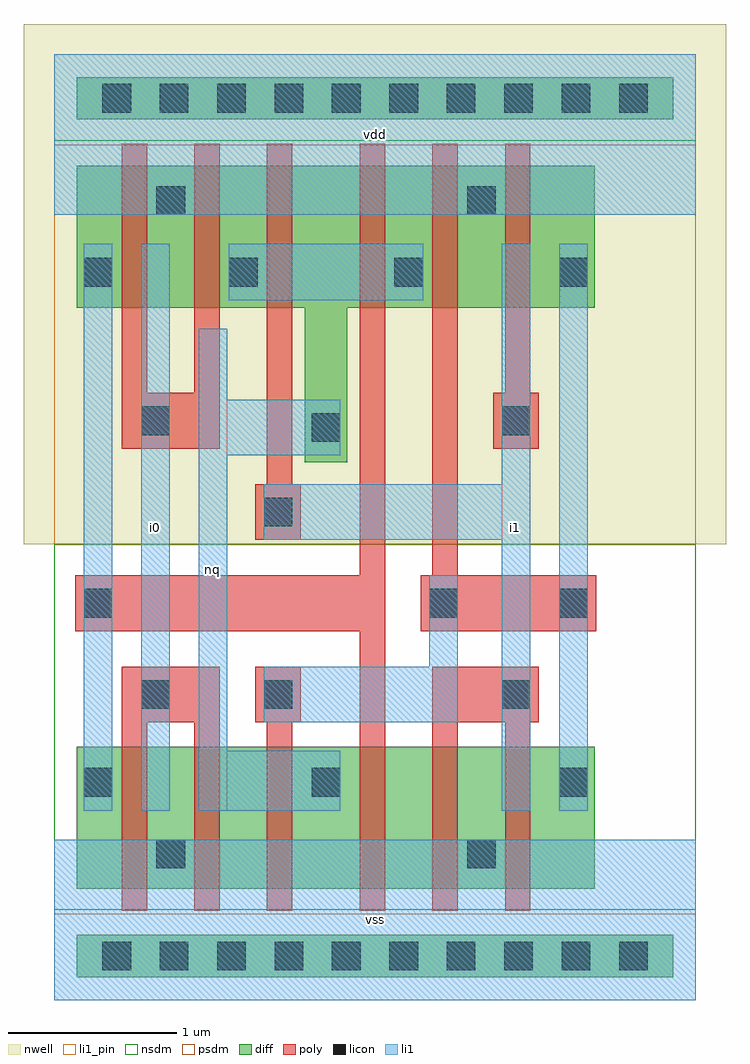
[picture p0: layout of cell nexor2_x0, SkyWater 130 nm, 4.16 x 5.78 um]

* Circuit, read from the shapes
.subckt nexor2_x0 i0 i1 nq vdd vss
XM1 vss i0 n1 VSUBS sky130_fd_pr__nfet_01v8 w=0.84 l=0.15
XM2 n2 i0 vss VSUBS sky130_fd_pr__nfet_01v8 w=0.84 l=0.15
XM3 nq n3 n2 VSUBS sky130_fd_pr__nfet_01v8 w=0.84 l=0.15
XM4 n4 n1 nq VSUBS sky130_fd_pr__nfet_01v8 w=0.84 l=0.15
XM5 vss i1 n4 VSUBS sky130_fd_pr__nfet_01v8 w=0.84 l=0.15
XM6 n3 i1 vss VSUBS sky130_fd_pr__nfet_01v8 w=0.84 l=0.15
XM7 vdd i0 n1 n5 sky130_fd_pr__pfet_01v8 w=0.84 l=0.15
XM8 n6 i0 vdd n5 sky130_fd_pr__pfet_01v8 w=0.84 l=0.15
XM9 nq i1 n6 n5 sky130_fd_pr__pfet_01v8 w=0.84 l=0.15
XM10 n6 n1 nq n5 sky130_fd_pr__pfet_01v8 w=0.84 l=0.15
XM11 vdd n3 n6 n5 sky130_fd_pr__pfet_01v8 w=0.84 l=0.15
XM12 n3 i1 vdd n5 sky130_fd_pr__pfet_01v8 w=0.84 l=0.15
.ends

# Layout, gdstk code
import gdstk
lib = gdstk.Library(unit=1e-6, precision=1e-09)
def R(c, l, rs):  # rectangles x0, y0, x1, y1
    for r in rs: c.add(gdstk.rectangle(r[:2], r[2:], *l))
def A(c, l, x, y, w, h, nx, ny, dx, dy):  # array of equal rectangles
    R(c, l, [(x+i*dx, y+j*dy, x+i*dx+w, y+j*dy+h) for i in range(nx) for j in range(ny)])
def P(c, l, *ps):  # polygons
    for p in ps: c.add(gdstk.Polygon(p, *l))
nwell = (64, 20)
diff = (65, 20)
poly = (66, 20)
licon = (66, 44)
li1_pin = (67, 16)
li1 = (67, 20)
nsdm = (93, 44)
psdm = (94, 20)

nexor2_x0 = lib.new_cell('nexor2_x0')
R(nexor2_x0, nwell, [(-0.18,2.7,3.98,5.78)])
R(nexor2_x0, diff, [(0.135,0.135,3.665,0.385), (0.135,0.66,3.2,1.5), (0.135,5.215,3.665,5.465)])
P(nexor2_x0, diff, [(1.485,3.185),(1.485,4.1),(0.135,4.1),(0.135,4.94),(3.2,4.94),(3.2,4.1),(1.735,4.1),(1.735,3.185)])
P(nexor2_x0, poly, [(1.81,0.53),(1.81,2.185),(0.125,2.185),(0.125,2.515),(1.81,2.515),(1.81,5.07),(1.96,5.07),(1.96,0.53)],
  [(0.4,3.265),(0.4,5.07),(0.55,5.07),(0.55,3.595),(0.83,3.595),(0.83,5.07),(0.98,5.07),(0.98,3.265)],
  [(0.4,0.53),(0.4,1.975),(0.98,1.975),(0.98,0.53),(0.83,0.53),(0.83,1.645),(0.55,1.645),(0.55,0.53)],
  [(1.26,0.53),(1.26,1.645),(1.19,1.645),(1.19,1.975),(1.46,1.975),(1.46,1.645),(1.41,1.645),(1.41,0.53)],
  [(2.17,2.185),(2.17,2.515),(2.24,2.515),(2.24,5.07),(2.39,5.07),(2.39,2.515),(3.21,2.515),(3.21,2.185)],
  [(1.19,2.725),(1.19,3.055),(1.26,3.055),(1.26,5.07),(1.41,5.07),(1.41,3.055),(1.46,3.055),(1.46,2.725)],
  [(2.6,3.265),(2.6,3.595),(2.67,3.595),(2.67,5.07),(2.82,5.07),(2.82,3.595),(2.87,3.595),(2.87,3.265)],
  [(2.24,0.53),(2.24,1.975),(2.87,1.975),(2.87,1.645),(2.82,1.645),(2.82,0.53),(2.67,0.53),(2.67,1.645),(2.39,1.645),(2.39,0.53)])
A(nexor2_x0, licon, 0.285, 0.175, 0.17, 0.17, 10, 2, 0.34, 5.08)
R(nexor2_x0, licon, [(0.605,0.78,0.775,0.95), (2.445,0.78,2.615,0.95), (0.175,1.205,0.345,1.375), (1.525,1.205,1.695,1.375), (2.99,1.205,3.16,1.375), (0.515,1.725,0.685,1.895), (1.24,1.725,1.41,1.895), (2.65,1.725,2.82,1.895), (0.175,2.265,0.345,2.435), (2.22,2.265,2.39,2.435), (2.99,2.265,3.16,2.435), (1.24,2.805,1.41,2.975), (1.525,3.305,1.695,3.475), (0.515,3.345,0.685,3.515), (2.65,3.345,2.82,3.515), (0.175,4.225,0.345,4.395), (1.035,4.225,1.205,4.395), (2.015,4.225,2.185,4.395), (2.99,4.225,3.16,4.395), (0.605,4.65,0.775,4.82), (2.445,4.65,2.615,4.82)])
R(nexor2_x0, li1_pin, [(0,0,3.8,0.95), (0.515,1.12,0.685,4.48), (0.855,1.12,1.025,3.975), (2.65,1.12,2.82,4.48), (0,4.65,3.8,5.6)])
R(nexor2_x0, li1, [(0,0,3.8,0.95), (0.175,1.12,0.345,4.48), (0.515,1.12,0.685,4.48), (2.99,1.12,3.16,4.48), (1.035,4.145,2.185,4.48), (0,4.65,3.8,5.6)])
P(nexor2_x0, li1, [(0.855,1.12),(0.855,3.975),(1.025,3.975),(1.025,3.555),(1.695,3.555),(1.695,3.225),(1.025,3.225),(1.025,1.475),(1.695,1.475),(1.695,1.12)],
  [(1.24,1.645),(1.24,1.975),(2.22,1.975),(2.22,2.515),(2.39,2.515),(2.39,1.645)],
  [(2.65,1.12),(2.65,2.725),(1.24,2.725),(1.24,3.055),(2.65,3.055),(2.65,4.48),(2.82,4.48),(2.82,1.12)])
R(nexor2_x0, nsdm, [(0,0.535,3.8,2.7), (0,5.09,3.8,5.6)])
R(nexor2_x0, psdm, [(0,0,3.8,0.51), (0,2.7,3.8,5.065)])
nexor2_x0.add(gdstk.Label('vdd', (1.9,5.125), layer=67, texttype=16))
nexor2_x0.add(gdstk.Label('vss', (1.9,0.475), layer=67, texttype=16))
nexor2_x0.add(gdstk.Label('i0', (0.6,2.8), layer=67, texttype=16))
nexor2_x0.add(gdstk.Label('nq', (0.94,2.548), layer=67, texttype=16))
nexor2_x0.add(gdstk.Label('i1', (2.735,2.8), layer=67, texttype=16))

lib.write_gds('nexor2_x0.gds')
